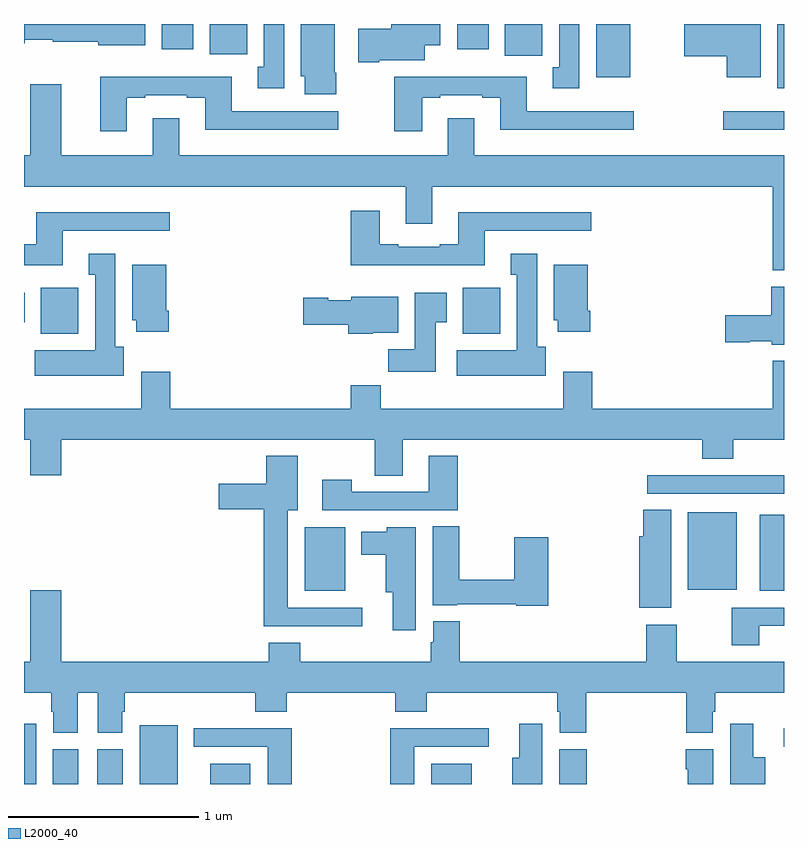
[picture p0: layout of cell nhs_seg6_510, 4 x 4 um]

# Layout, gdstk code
import gdstk
lib = gdstk.Library(unit=1e-6, precision=1e-09)
def R(c, l, rs):  # rectangles x0, y0, x1, y1
    for r in rs: c.add(gdstk.rectangle(r[:2], r[2:], *l))
def P(c, l, *ps):  # polygons
    for p in ps: c.add(gdstk.Polygon(p, *l))
L2000_40 = (2000, 40)

nhs_seg6_510 = lib.new_cell('nhs_seg6_510')
R(nhs_seg6_510, L2000_40, [(141,969.5,141.064,969.817), (141.152,969.5,141.286,969.684), (141.386,969.5,141.52,969.684), (141.608,969.5,141.808,969.808), (141.98,969.5,142.192,969.607), (143.144,969.5,143.356,969.607), (143.816,969.5,143.963,969.684), (144.999,969.696,145,969.794), (142.478,970.517,142.69,970.852), (144.872,970.517,145,970.918), (144.494,970.523,144.751,970.93), (144.279,971.028,145,971.124), (141.089,971.87,141.286,972.112), (143.309,971.87,143.506,972.112), (141,971.929,141.004,972.085), (144.681,972.944,145,973.041), (144.965,973.161,145,973.5), (144.011,973.22,144.19,973.5), (143.531,973.332,143.727,973.5), (141.977,973.34,142.174,973.5), (141.725,973.368,141.892,973.5), (143.279,973.368,143.446,973.5)])
P(nhs_seg6_510, L2000_40, [(143.923,973.5),(143.816,973.5),(143.816,973.273),(143.783,973.273),(143.783,973.161),(143.923,973.161)],
  [(142.644,973.243),(142.636,973.243),(142.636,973.5),(142.457,973.5),(142.457,973.224),(142.478,973.224),(142.478,973.131),(142.644,973.131)],
  [(141.637,973.5),(141,973.5),(141,973.399),(141.003,973.399),(141.003,973.417),(141.15,973.417),(141.15,973.406),(141.39,973.406),(141.39,973.388),(141.637,973.388)],
  [(142.87,973.31),(143.11,973.31),(143.11,973.388),(143.191,973.388),(143.191,973.5),(142.933,973.5),(142.933,973.476),(142.758,973.476),(142.758,973.298),(142.87,973.298)],
  [(142.369,973.5),(142.262,973.5),(142.262,973.274),(142.229,973.274),(142.229,973.161),(142.369,973.161)],
  [(144.877,973.5),(144.476,973.5),(144.476,973.331),(144.698,973.331),(144.698,973.22),(144.877,973.22)],
  [(143.095,973.113),(143.191,973.113),(143.191,973.125),(143.411,973.125),(143.411,973.113),(143.507,973.113),(143.507,972.944),(144.208,972.944),(144.208,973.041),(143.647,973.041),(143.647,973.222),(142.948,973.222),(142.948,972.936),(143.095,972.936)],
  [(141.541,973.113),(141.637,973.113),(141.637,973.125),(141.857,973.125),(141.857,973.113),(141.953,973.113),(141.953,972.944),(142.654,972.944),(142.654,973.041),(142.093,973.041),(142.093,973.222),(141.401,973.222),(141.401,972.936),(141.541,972.936)],
  [(141.032,973.183),(141.032,972.808),(141,972.808),(141,972.644),(143.009,972.644),(143.009,972.45),(143.149,972.45),(143.149,972.644),(144.941,972.644),(144.941,972.203),(145,972.203),(145,972.808),(143.371,972.808),(143.371,973.003),(143.231,973.003),(143.231,972.808),(141.817,972.808),(141.817,973.003),(141.677,973.003),(141.677,972.808),(141.196,972.808),(141.196,973.183)],
  [(143.425,972.411),(143.986,972.411),(143.986,972.508),(143.285,972.508),(143.285,972.34),(143.189,972.34),(143.189,972.327),(142.969,972.327),(142.969,972.34),(142.873,972.34),(142.873,972.517),(142.721,972.517),(142.721,972.23),(143.425,972.23)],
  [(141.205,972.411),(141.766,972.411),(141.766,972.508),(141.065,972.508),(141.065,972.34),(141,972.34),(141,972.23),(141.205,972.23)],
  [(141.526,971.802),(141.481,971.802),(141.481,972.292),(141.341,972.292),(141.341,972.179),(141.374,972.179),(141.374,971.782),(141.057,971.782),(141.057,971.648),(141.526,971.648)],
  [(143.746,971.802),(143.701,971.802),(143.701,972.292),(143.561,972.292),(143.561,972.179),(143.594,972.179),(143.594,971.782),(143.277,971.782),(143.277,971.648),(143.746,971.648)],
  [(143.981,971.992),(143.968,971.992),(143.968,972.232),(143.789,972.232),(143.789,971.94),(143.81,971.94),(143.81,971.88),(143.981,971.88)],
  [(141.761,971.992),(141.748,971.992),(141.748,972.232),(141.569,972.232),(141.569,971.94),(141.59,971.94),(141.59,971.88),(141.761,971.88)],
  [(145,972.118),(144.932,972.118),(144.932,971.966),(144.69,971.966),(144.69,971.824),(144.819,971.824),(144.819,971.831),(144.936,971.831),(144.936,971.813),(145,971.813)],
  [(143.167,971.929),(143.224,971.929),(143.224,972.085),(143.057,972.085),(143.057,971.788),(142.918,971.788),(142.918,971.67),(143.167,971.67)],
  [(142.836,971.876),(142.969,971.876),(142.969,972.064),(142.722,972.064),(142.722,972.046),(142.602,972.046),(142.602,972.059),(142.47,972.059),(142.47,971.917),(142.706,971.917),(142.706,971.87),(142.836,971.87)],
  [(142.993,971.312),(144.569,971.312),(144.569,971.213),(144.734,971.213),(144.734,971.312),(145,971.312),(145,971.728),(144.941,971.728),(144.941,971.476),(143.99,971.476),(143.99,971.671),(143.837,971.671),(143.837,971.476),(142.877,971.476),(142.877,971.6),(142.721,971.6),(142.721,971.476),(141.77,971.476),(141.77,971.671),(141.617,971.671),(141.617,971.476),(141,971.476),(141,971.312),(141.032,971.312),(141.032,971.124),(141.196,971.124),(141.196,971.312),(142.846,971.312),(142.846,971.122),(142.993,971.122)],
  [(143.282,971.227),(143.129,971.227),(143.129,971.037),(142.725,971.037),(142.725,971.101),(142.569,971.101),(142.569,970.941),(143.282,970.941)],
  [(142.78,970.428),(142.387,970.428),(142.387,970.94),(142.441,970.94),(142.441,971.227),(142.274,971.227),(142.274,971.08),(142.026,971.08),(142.026,970.946),(142.262,970.946),(142.262,970.331),(142.78,970.331)],
  [(144.406,970.943),(144.26,970.943),(144.26,970.803),(144.239,970.803),(144.239,970.427),(144.406,970.427)],
  [(143.759,970.798),(143.581,970.798),(143.581,970.574),(143.292,970.574),(143.292,970.856),(143.15,970.856),(143.15,970.442),(143.28,970.442),(143.28,970.446),(143.592,970.446),(143.592,970.438),(143.759,970.438)],
  [(143.062,970.852),(142.908,970.852),(142.908,970.828),(142.775,970.828),(142.775,970.706),(142.904,970.706),(142.904,970.508),(142.94,970.508),(142.94,970.308),(143.062,970.308)],
  [(142.955,969.881),(143.12,969.881),(143.12,969.98),(143.807,969.98),(143.807,969.879),(143.819,969.879),(143.819,969.769),(143.96,969.769),(143.96,969.98),(144.485,969.98),(144.485,969.769),(144.625,969.769),(144.625,969.879),(144.638,969.879),(144.638,969.98),(145,969.98),(145,970.144),(144.435,970.144),(144.435,970.339),(144.275,970.339),(144.275,970.144),(143.294,970.144),(143.294,970.357),(143.153,970.357),(143.153,970.245),(143.141,970.245),(143.141,970.144),(142.454,970.144),(142.454,970.243),(142.289,970.243),(142.289,970.144),(141.196,970.144),(141.196,970.519),(141.032,970.519),(141.032,970.144),(141,970.144),(141,969.98),(141.143,969.98),(141.143,969.879),(141.155,969.879),(141.155,969.769),(141.283,969.769),(141.283,969.98),(141.389,969.98),(141.389,969.769),(141.517,969.769),(141.517,969.879),(141.53,969.879),(141.53,969.98),(142.217,969.98),(142.217,969.881),(142.382,969.881),(142.382,969.98),(142.955,969.98)],
  [(144.871,970.332),(145,970.332),(145,970.428),(144.724,970.428),(144.724,970.23),(144.871,970.23)],
  [(144.901,969.64),(144.838,969.64),(144.838,969.817),(144.716,969.817),(144.716,969.5),(144.901,969.5)],
  [(143.728,969.817),(143.606,969.817),(143.606,969.637),(143.57,969.637),(143.57,969.5),(143.728,969.5)],
  [(143.053,969.696),(143.446,969.696),(143.446,969.794),(142.928,969.794),(142.928,969.5),(143.053,969.5)],
  [(142.409,969.794),(141.893,969.794),(141.893,969.696),(142.283,969.696),(142.283,969.5),(142.409,969.5)],
  [(144.628,969.684),(144.482,969.684),(144.482,969.578),(144.494,969.578),(144.494,969.5),(144.628,969.5)])

lib.write_gds('nhs_seg6_510.gds')
